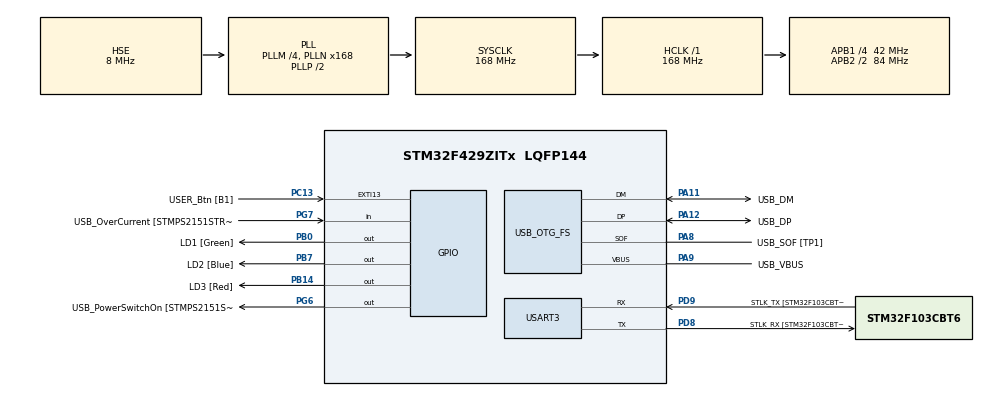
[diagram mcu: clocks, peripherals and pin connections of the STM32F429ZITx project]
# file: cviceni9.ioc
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Mcu.Family=STM32F4
Mcu.Name=STM32F429ZITx
Mcu.Package=LQFP144
NVIC.OTG_FS_IRQn=true\:0\:0\:false\:false\:true\:false\:true
NVIC.PriorityGroup=NVIC_PRIORITYGROUP_4
PA1.GPIO_Label=RMII_REF_CLK [LAN8742A-CZ-TR_REFCLK0]
PA1.Signal=ETH_REF_CLK
PA10.GPIO_Label=USB_ID
PA10.Signal=USB_OTG_FS_ID
PA11.GPIO_Label=USB_DM
PA11.Mode=Device_Only
PA11.Signal=USB_OTG_FS_DM
PA12.GPIO_Label=USB_DP
PA12.Mode=Device_Only
PA12.Signal=USB_OTG_FS_DP
PA13.GPIO_Label=TMS
PA13.Mode=Serial_Wire
PA13.Signal=SYS_JTMS-SWDIO
PA14.GPIO_Label=TCK
PA14.Mode=Serial_Wire
PA14.Signal=SYS_JTCK-SWCLK
PA2.GPIO_Label=RMII_MDIO [LAN8742A-CZ-TR_MDIO]
PA2.Signal=ETH_MDIO
PA7.GPIO_Label=RMII_CRS_DV [LAN8742A-CZ-TR_CRS_DV]
PA7.Signal=ETH_CRS_DV
PA8.GPIO_Label=USB_SOF [TP1]
PA8.Mode=Activate_SOF_FS
PA8.Signal=USB_OTG_FS_SOF
PA9.GPIO_Label=USB_VBUS
PA9.Mode=Activate_VBUS
PA9.Signal=USB_OTG_FS_VBUS
PB0.GPIO_Label=LD1 [Green]
PB0.Signal=GPIO_Output
PB13.GPIO_Label=RMII_TXD1 [LAN8742A-CZ-TR_TXD1]
PB13.Signal=ETH_TXD1
PB14.GPIO_Label=LD3 [Red]
PB14.Signal=GPIO_Output
PB7.GPIO_Label=LD2 [Blue]
PB7.Signal=GPIO_Output
PC1.GPIO_Label=RMII_MDC [LAN8742A-CZ-TR_MDC]
PC1.Signal=ETH_MDC
PC13.GPIO_Label=USER_Btn [B1]
PC13.Signal=GPXTI13
PC14/OSC32_IN.Mode=LSE-External-Oscillator
PC14/OSC32_IN.Signal=RCC_OSC32_IN
PC15/OSC32_OUT.Mode=LSE-External-Oscillator
PC15/OSC32_OUT.Signal=RCC_OSC32_OUT
PC4.GPIO_Label=RMII_RXD0 [LAN8742A-CZ-TR_RXD0]
PC4.Signal=ETH_RXD0
PC5.GPIO_Label=RMII_RXD1 [LAN8742A-CZ-TR_RXD1]
PC5.Signal=ETH_RXD1
PD8.GPIO_Label=STLK_RX [STM32F103CBT6_PA3]
PD8.Mode=Asynchronous
PD8.Signal=USART3_TX
PD9.GPIO_Label=STLK_TX [STM32F103CBT6_PA2]
PD9.Mode=Asynchronous
PD9.Signal=USART3_RX
PG11.GPIO_Label=RMII_TX_EN [LAN8742A-CZ-TR_TXEN]
PG11.Signal=ETH_TX_EN
PG13.GPIO_Label=RMII_TXD0 [LAN8742A-CZ-TR_TXD0]
PG13.Signal=ETH_TXD0
PG6.GPIO_Label=USB_PowerSwitchOn [STMPS2151STR_EN]
PG6.Signal=GPIO_Output
PG7.GPIO_Label=USB_OverCurrent [STMPS2151STR_FAULT]
PG7.Signal=GPIO_Input
PH0/OSC_IN.GPIO_Label=MCO [STM32F103CBT6_PA8]
PH0/OSC_IN.Mode=HSE-External-Clock-Source
PH0/OSC_IN.Signal=RCC_OSC_IN
PH1/OSC_OUT.Mode=HSE-External-Clock-Source
PH1/OSC_OUT.Signal=RCC_OSC_OUT
ProjectManager.HeapSize=0x200
ProjectManager.StackSize=0x400
ProjectManager.TargetToolchain=STM32CubeIDE
RCC.48MHZClocksFreq_Value=48000000
RCC.AHBFreq_Value=168000000
RCC.APB1CLKDivider=RCC_HCLK_DIV4
RCC.APB1Freq_Value=42000000
RCC.APB1TimFreq_Value=84000000
RCC.APB2CLKDivider=RCC_HCLK_DIV2
RCC.APB2Freq_Value=84000000
RCC.APB2TimCLKDivider=2
RCC.APB2TimFreq_Value=168000000
RCC.CortexFreq_Value=168000000
RCC.HCLKFreq_Value=168000000
RCC.HSE_VALUE=8000000
RCC.HSI_VALUE=16000000
RCC.PLLM=4
RCC.PLLMUL=RCC_PLL_MUL9
RCC.PLLN=168
RCC.PLLQ=7
RCC.PRESCALERUSB=RCC_USBCLKSOURCE_PLL_DIV1_5
RCC.SYSCLKFreq_VALUE=168000000
RCC.SYSCLKSource=RCC_SYSCLKSOURCE_PLLCLK
RCC.SYSCLKSourceVirtual=RCC_SYSCLKSOURCE_PLLCLK
RCC.USBFreq_Value=48000000
RCC.VCOOutputFreq_Value=336000000
USART3.VirtualMode=VM_ASYNC
USB_DEVICE.CLASS_NAME_FS=HID
USB_DEVICE.VirtualMode-HID_FS=Hid
USB_DEVICE.VirtualModeFS=Hid_FS
USB_OTG_FS.VirtualMode=Device_Only
VP_USB_DEVICE_VS_USB_DEVICE_HID_FS.Mode=HID_FS
board=NUCLEO-F429ZI

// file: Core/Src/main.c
/* USER CODE BEGIN Header */
/**
  ******************************************************************************
  * @file           : main.c
  * @brief          : Main program body
  ******************************************************************************
  * @attention
  *
  * <h2><center>&copy; Copyright (c) 2021 STMicroelectronics.
  * All rights reserved.</center></h2>
  *
  * This software component is licensed by ST under BSD 3-Clause license,
  * the "License"; You may not use this file except in compliance with the
  * License. You may obtain a copy of the License at:
  *                        opensource.org/licenses/BSD-3-Clause
  *
  ******************************************************************************
  */
/* USER CODE END Header */
#include "main.h"
#include "usb_device.h"

/* USER CODE BEGIN Includes */
#include "usbd_hid.h"
#include <math.h>
#include <stdbool.h>
/* USER CODE END Includes */

UART_HandleTypeDef huart3;

/* USER CODE BEGIN PV */
extern USBD_HandleTypeDef hUsbDeviceFS; //struktura definovana v usb_device.c
/* USER CODE END PV */

void SystemClock_Config(void);
static void MX_GPIO_Init(void);
static void MX_USART3_UART_Init(void);
/* USER CODE BEGIN PFP */
/*
void step(int8_t x_dif, int8_t y_dif){ //pohne kurzorem o zadany rozdil
	  //odeslani jednoho reportu(kroku) mysi provede kod:
	  uint8_t buff[4]; //
	  buff[0] = 0x01; // stiskni leve tlacitko //3bity pro tlacitka
	  buff[1] = (int8_t)(x_dif); //posun ve smeru x - znamen cislo
	  buff[2] = (int8_t)(y_dif); //posun ve smeru y -znamen cislo
	  buff[3] = 0; // bez scrollu
	  USBD_HID_SendReport(&hUsbDeviceFS, buff, sizeof(buff)); //odeslani reportu
	  HAL_Delay(USBD_HID_GetPollingInterval(&hUsbDeviceFS)); //delay aby stihl pocitac report odebrat (pc se dotazuje v intervalu
	  HAL_Delay(50);//vetsi zpomaleni

}

void kruznice(uint8_t polomer, uint8_t rozliseni, bool stisk,  bool btn){
	//if (btn) {
		float_t x = 0; //aktulane vypoctena pozice
		float_t y = 0;

		float_t sx = 0; //minula pozice
		float_t sy = 0;
                                               //pro dokresleni kruhu
		for (float_t uhel = 0; uhel < (2*M_PI + 2*M_PI/rozliseni); uhel = uhel + 2*M_PI/rozliseni) { //

			x = polomer*cosf(uhel);
			y = polomer*sinf(uhel);

			step((x-sx), (y-sy), stisk, HAL_GPIO_ReadPin(USER_Btn_GPIO_Port, USER_Btn_Pin)); //provedeni posunu //lepsi predavat port a pin btn
			sx = x; //aktualizovani minule pozice
			sy = y;

		}
}

	void cast_kruznice(uint8_t polomer, uint8_t rozliseni, float_t pocatek, float_t konec, bool stisk, bool btn) {

		float_t x = 0; //aktulane vypoctena pozice
		float_t y = 0;

		float_t sx = 0; //minula pozice
		float_t sy = 0;

		for (float_t uhel = pocatek; uhel < konec; uhel = uhel + 2 * M_PI / rozliseni) { //

			x = polomer * cosf(uhel);
			y = polomer * sinf(uhel);

			step((x - sx), (y - sy), stisk, HAL_GPIO_ReadPin(USER_Btn_GPIO_Port, USER_Btn_Pin)); //provedeni posunu //lepsi predavat port a pin btn
			sx = x; //aktualizovani minule pozice
			sy = y;

		}

}*/

void napis(uint8_t klavesa, uint8_t prava) {
	uint8_t buff[9]; //
	buff[0] = 0x01; //klavesnice
	buff[1] = klavesa;
	buff[2] = 0x00;
	buff[3] = prava;
	buff[4] = 0x00;
	buff[5] = 0x00;
	buff[6] = 0x00;
	buff[7] = 0x00;
	buff[8] = 0x00;

	USBD_HID_SendReport(&hUsbDeviceFS, buff, sizeof(buff)); //odeslani reportu
	HAL_Delay(USBD_HID_GetPollingInterval(&hUsbDeviceFS) * 10); //delay aby stihl pocitac report odebrat (pc se dotazuje v intervalu

	//pusteni klavesy
	buff[1] = 0x00;
	buff[3] = 0x00;

	USBD_HID_SendReport(&hUsbDeviceFS, buff, sizeof(buff)); //odeslani reportu
	HAL_Delay(USBD_HID_GetPollingInterval(&hUsbDeviceFS) * 20); //delay aby stihl pocitac report odebrat (pc se dotazuje v intervalu

}
/* USER CODE END PFP */

int main(void)
{

  /* MCU Configuration--------------------------------------------------------*/

  /* Reset of all peripherals, Initializes the Flash interface and the Systick. */
  HAL_Init();

  /* Configure the system clock */
  SystemClock_Config();

  /* Initialize all configured peripherals */
  MX_GPIO_Init();
  MX_USART3_UART_Init();
  MX_USB_DEVICE_Init();

  /* Infinite loop */
  /* USER CODE BEGIN WHILE */
  while (1)
  {   //kresleni probehne pouze kdyz je zmacknute tlacitko

	  if(HAL_GPIO_ReadPin(USER_Btn_GPIO_Port, USER_Btn_Pin)){//kdyz se zmackne tlacitko, zacne se vykreslovat smajlik
		  /*
      //kdykoliv je tlacitko pusteno je kresleni peruseno
	  kruznice(100, 50, 1, HAL_GPIO_ReadPin(USER_Btn_GPIO_Port, USER_Btn_Pin)); //oblicej
	  step(0, 0, 0, HAL_GPIO_ReadPin(USER_Btn_GPIO_Port, USER_Btn_Pin)); // pusteni praveho tlacitka

	  step(-30, -30, 0, HAL_GPIO_ReadPin(USER_Btn_GPIO_Port, USER_Btn_Pin)); //posun na prave oko
	  kruznice(15, 20, 1, HAL_GPIO_ReadPin(USER_Btn_GPIO_Port, USER_Btn_Pin)); //oko
	  step(0, 0, 0, HAL_GPIO_ReadPin(USER_Btn_GPIO_Port, USER_Btn_Pin)); // pusteni praveho tlacitka
//-40-15
	  step(-90, 0, 0, HAL_GPIO_ReadPin(USER_Btn_GPIO_Port, USER_Btn_Pin)); //posun na leve oko
	  kruznice(15, 20, 1, HAL_GPIO_ReadPin(USER_Btn_GPIO_Port, USER_Btn_Pin)); //oko
	  step(0, 0, 0, HAL_GPIO_ReadPin(USER_Btn_GPIO_Port, USER_Btn_Pin)); // pusteni praveho tlacitka

	  step(35, 30, 1, HAL_GPIO_ReadPin(USER_Btn_GPIO_Port, USER_Btn_Pin)); //posun na nos
	  step(0, 20, 1, HAL_GPIO_ReadPin(USER_Btn_GPIO_Port, USER_Btn_Pin)); //nakresleni nosu
	  step(0, 0, 0, HAL_GPIO_ReadPin(USER_Btn_GPIO_Port, USER_Btn_Pin)); // pusteni praveho tlacitka

	  step(-35, -60, 0, HAL_GPIO_ReadPin(USER_Btn_GPIO_Port, USER_Btn_Pin)); //posun na pusu
	  cast_kruznice(90, 50, M_PI/4, M_PI*3/4, 1,HAL_GPIO_ReadPin(USER_Btn_GPIO_Port, USER_Btn_Pin)); //pusa
	  step(0, 0, 0, HAL_GPIO_ReadPin(USER_Btn_GPIO_Port, USER_Btn_Pin)); // pusteni praveho tlacitka

	  HAL_Delay(1000);
*/
		  /*
			uint8_t buff[9]; //
			buff[0] = 0x01; //klavesnice
			buff[1] = 0x08; //WIN
			buff[2] = 0x00;
			buff[3] = 0x15; //R
			buff[4] = 0x00;
			buff[5] = 0x00;
			buff[6] = 0x00;
			buff[7] = 0x00;
			buff[8] = 0x00;

			USBD_HID_SendReport(&hUsbDeviceFS, buff, sizeof(buff)); //odeslani reportu
			HAL_Delay(USBD_HID_GetPollingInterval(&hUsbDeviceFS)*10); //delay aby stihl pocitac report odebrat (pc se dotazuje v intervalu
			//HAL_Delay(100);

			buff[1] = 0x00;
		    buff[3] = 0x00;

			USBD_HID_SendReport(&hUsbDeviceFS, buff, sizeof(buff)); //odeslani reportu
			HAL_Delay(USBD_HID_GetPollingInterval(&hUsbDeviceFS)*10); //delay aby stihl pocitac report odebrat (pc se dotazuje v intervalu

			   0x10;//M
			   0x16;//S
			   0x13;//P
			   0x04;//A
			   0x0c;//I
			   0x011;//N
			 0x017;//T
			 0x28;//ENTER
			 */
			napis(0x08, 0x15); //WIN + R
			napis(0x10, 0x0); //M
			napis(0x16, 0x0); //S

			HAL_Delay(10000);
	  }

    /* USER CODE END WHILE */

  }
}

void SystemClock_Config(void)
{
  RCC_OscInitTypeDef RCC_OscInitStruct = {0};
  RCC_ClkInitTypeDef RCC_ClkInitStruct = {0};

  /** Configure the main internal regulator output voltage
  */
  __HAL_RCC_PWR_CLK_ENABLE();
  __HAL_PWR_VOLTAGESCALING_CONFIG(PWR_REGULATOR_VOLTAGE_SCALE1);
  /** Initializes the RCC Oscillators according to the specified parameters
  * in the RCC_OscInitTypeDef structure.
  */
  RCC_OscInitStruct.OscillatorType = RCC_OSCILLATORTYPE_HSE;
  RCC_OscInitStruct.HSEState = RCC_HSE_BYPASS;
  RCC_OscInitStruct.PLL.PLLState = RCC_PLL_ON;
  RCC_OscInitStruct.PLL.PLLSource = RCC_PLLSOURCE_HSE;
  RCC_OscInitStruct.PLL.PLLM = 4;
  RCC_OscInitStruct.PLL.PLLN = 168;
  RCC_OscInitStruct.PLL.PLLP = RCC_PLLP_DIV2;
  RCC_OscInitStruct.PLL.PLLQ = 7;
  if (HAL_RCC_OscConfig(&RCC_OscInitStruct) != HAL_OK)
  {
    Error_Handler();
  }
  /** Initializes the CPU, AHB and APB buses clocks
  */
  RCC_ClkInitStruct.ClockType = RCC_CLOCKTYPE_HCLK|RCC_CLOCKTYPE_SYSCLK
                              |RCC_CLOCKTYPE_PCLK1|RCC_CLOCKTYPE_PCLK2;
  RCC_ClkInitStruct.SYSCLKSource = RCC_SYSCLKSOURCE_PLLCLK;
  RCC_ClkInitStruct.AHBCLKDivider = RCC_SYSCLK_DIV1;
  RCC_ClkInitStruct.APB1CLKDivider = RCC_HCLK_DIV4;
  RCC_ClkInitStruct.APB2CLKDivider = RCC_HCLK_DIV2;

  if (HAL_RCC_ClockConfig(&RCC_ClkInitStruct, FLASH_LATENCY_5) != HAL_OK)
  {
    Error_Handler();
  }
}

static void MX_USART3_UART_Init(void)
{

  huart3.Instance = USART3;
  huart3.Init.BaudRate = 115200;
  huart3.Init.WordLength = UART_WORDLENGTH_8B;
  huart3.Init.StopBits = UART_STOPBITS_1;
  huart3.Init.Parity = UART_PARITY_NONE;
  huart3.Init.Mode = UART_MODE_TX_RX;
  huart3.Init.HwFlowCtl = UART_HWCONTROL_NONE;
  huart3.Init.OverSampling = UART_OVERSAMPLING_16;
  if (HAL_UART_Init(&huart3) != HAL_OK)
  {
    Error_Handler();
  }

}

static void MX_GPIO_Init(void)
{
  GPIO_InitTypeDef GPIO_InitStruct = {0};

  /* GPIO Ports Clock Enable */
  __HAL_RCC_GPIOC_CLK_ENABLE();
  __HAL_RCC_GPIOH_CLK_ENABLE();
  __HAL_RCC_GPIOA_CLK_ENABLE();
  __HAL_RCC_GPIOB_CLK_ENABLE();
  __HAL_RCC_GPIOD_CLK_ENABLE();
  __HAL_RCC_GPIOG_CLK_ENABLE();

  /*Configure GPIO pin Output Level */
  HAL_GPIO_WritePin(GPIOB, LD1_Pin|LD3_Pin|LD2_Pin, GPIO_PIN_RESET);

  /*Configure GPIO pin Output Level */
  HAL_GPIO_WritePin(USB_PowerSwitchOn_GPIO_Port, USB_PowerSwitchOn_Pin, GPIO_PIN_RESET);

  /*Configure GPIO pin : USER_Btn_Pin */
  GPIO_InitStruct.Pin = USER_Btn_Pin;
  GPIO_InitStruct.Mode = GPIO_MODE_IT_RISING;
  GPIO_InitStruct.Pull = GPIO_NOPULL;
  HAL_GPIO_Init(USER_Btn_GPIO_Port, &GPIO_InitStruct);

  /*Configure GPIO pins : RMII_MDC_Pin RMII_RXD0_Pin RMII_RXD1_Pin */
  GPIO_InitStruct.Pin = RMII_MDC_Pin|RMII_RXD0_Pin|RMII_RXD1_Pin;
  GPIO_InitStruct.Mode = GPIO_MODE_AF_PP;
  GPIO_InitStruct.Pull = GPIO_NOPULL;
  GPIO_InitStruct.Speed = GPIO_SPEED_FREQ_VERY_HIGH;
  GPIO_InitStruct.Alternate = GPIO_AF11_ETH;
  HAL_GPIO_Init(GPIOC, &GPIO_InitStruct);

  /*Configure GPIO pins : RMII_REF_CLK_Pin RMII_MDIO_Pin RMII_CRS_DV_Pin */
  GPIO_InitStruct.Pin = RMII_REF_CLK_Pin|RMII_MDIO_Pin|RMII_CRS_DV_Pin;
  GPIO_InitStruct.Mode = GPIO_MODE_AF_PP;
  GPIO_InitStruct.Pull = GPIO_NOPULL;
  GPIO_InitStruct.Speed = GPIO_SPEED_FREQ_VERY_HIGH;
  GPIO_InitStruct.Alternate = GPIO_AF11_ETH;
  HAL_GPIO_Init(GPIOA, &GPIO_InitStruct);

  /*Configure GPIO pins : LD1_Pin LD3_Pin LD2_Pin */
  GPIO_InitStruct.Pin = LD1_Pin|LD3_Pin|LD2_Pin;
  GPIO_InitStruct.Mode = GPIO_MODE_OUTPUT_PP;
  GPIO_InitStruct.Pull = GPIO_NOPULL;
  GPIO_InitStruct.Speed = GPIO_SPEED_FREQ_LOW;
  HAL_GPIO_Init(GPIOB, &GPIO_InitStruct);

  /*Configure GPIO pin : RMII_TXD1_Pin */
  GPIO_InitStruct.Pin = RMII_TXD1_Pin;
  GPIO_InitStruct.Mode = GPIO_MODE_AF_PP;
  GPIO_InitStruct.Pull = GPIO_NOPULL;
  GPIO_InitStruct.Speed = GPIO_SPEED_FREQ_VERY_HIGH;
  GPIO_InitStruct.Alternate = GPIO_AF11_ETH;
  HAL_GPIO_Init(RMII_TXD1_GPIO_Port, &GPIO_InitStruct);

  /*Configure GPIO pin : USB_PowerSwitchOn_Pin */
  GPIO_InitStruct.Pin = USB_PowerSwitchOn_Pin;
  GPIO_InitStruct.Mode = GPIO_MODE_OUTPUT_PP;
  GPIO_InitStruct.Pull = GPIO_NOPULL;
  GPIO_InitStruct.Speed = GPIO_SPEED_FREQ_LOW;
  HAL_GPIO_Init(USB_PowerSwitchOn_GPIO_Port, &GPIO_InitStruct);

  /*Configure GPIO pin : USB_OverCurrent_Pin */
  GPIO_InitStruct.Pin = USB_OverCurrent_Pin;
  GPIO_InitStruct.Mode = GPIO_MODE_INPUT;
  GPIO_InitStruct.Pull = GPIO_NOPULL;
  HAL_GPIO_Init(USB_OverCurrent_GPIO_Port, &GPIO_InitStruct);

  /*Configure GPIO pins : RMII_TX_EN_Pin RMII_TXD0_Pin */
  GPIO_InitStruct.Pin = RMII_TX_EN_Pin|RMII_TXD0_Pin;
  GPIO_InitStruct.Mode = GPIO_MODE_AF_PP;
  GPIO_InitStruct.Pull = GPIO_NOPULL;
  GPIO_InitStruct.Speed = GPIO_SPEED_FREQ_VERY_HIGH;
  GPIO_InitStruct.Alternate = GPIO_AF11_ETH;
  HAL_GPIO_Init(GPIOG, &GPIO_InitStruct);

}

void Error_Handler(void)
{
  __disable_irq();
  while (1)
  {
  }
}

/************************ (C) COPYRIGHT STMicroelectronics *****END OF FILE****/
